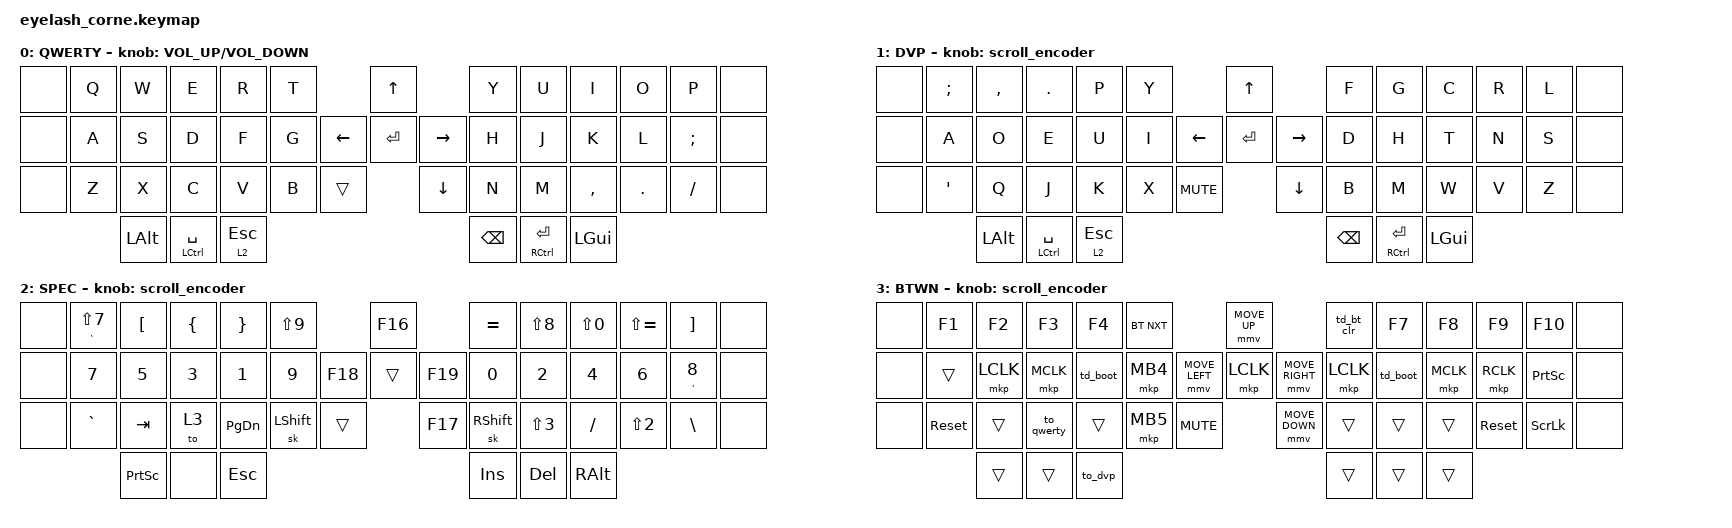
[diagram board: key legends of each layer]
#define ZMK_POINTING_DEFAULT_MOVE_VAL 1200  // 600
#define ZMK_POINTING_DEFAULT_SCRL_VAL 25   // 10

#include <input/processors.dtsi>
#include <zephyr/dt-bindings/input/input-event-codes.h>
#include <behaviors.dtsi>
#include <dt-bindings/zmk/bt.h>
#include <dt-bindings/zmk/keys.h>
#include <dt-bindings/zmk/outputs.h>
#include <dt-bindings/zmk/pointing.h>
#include <dt-bindings/zmk/rgb.h>

&mmv_input_listener { input-processors = <&zip_xy_scaler 2 1>; };

&msc_input_listener { input-processors = <&zip_scroll_scaler 2 1>; };

&msc {
    acceleration-exponent = <1>;      // 0
    time-to-max-speed-ms = <100>;       // 300
    delay-ms = <0>;                   // 0
};

&mmv {
    time-to-max-speed-ms = <500>;
    acceleration-exponent = <1>;
    trigger-period-ms = <16>;
};

&mt {
    flavor = "balanced";
    tapping-term-ms = <175>;
    quick-tap-ms = <150>;
};

&lt {
    flavor = "hold-preferred";
    tapping-term-ms = <200>;
    quick-tap-ms = <150>;
};

/ {
    behaviors {
        td0: td0 {
            compatible = "zmk,behavior-tap-dance";
            display-name = "Shift/Caps Lock Tap Dance";
            #binding-cells = <0>;
            bindings = <&kp LEFT_SHIFT>, <&kp CAPS>;
        };

        to_dvp: to_dvp {
          compatible = "zmk,behavior-macro";
          wait-ms = <30>;
          tap-ms = <30>;
          #binding-cells = <0>;
          bindings = <
            &kp LC(LS(LA(LG(N1))))  // Hyper+1 → Hammerspoon → set ABC
            &to 1
          >;
        };

        td_bt_clr: td_bt_clr {
            compatible = "zmk,behavior-tap-dance";
            display-name = "Double Tap BT Clear";
            #binding-cells = <0>;
            tapping-term-ms = <300>;
            bindings = <&none>, <&bt BT_CLR>;
        };

        td_boot: td_boot {
            compatible = "zmk,behavior-tap-dance";
            display-name = "Double Tap Bootloader";
            #binding-cells = <0>;
            tapping-term-ms = <300>;
            bindings = <&none>, <&bootloader>;
        };

        to_qwerty: to_qwerty {
          compatible = "zmk,behavior-macro";
          wait-ms = <30>;
          tap-ms = <30>;
          #binding-cells = <0>;
          bindings = <
            &kp LC(LS(LA(LG(N2))))  // Hyper+2 → Hammerspoon → set Russian
            &to 0
          >;
        };
    };

    rgb_encoder: rgb_encoder {
        compatible = "zmk,behavior-sensor-rotate";
        #sensor-binding-cells = <0>;
        bindings = <&rgb_ug RGB_BRI>, <&rgb_ug RGB_BRD>;
    };

    scroll_encoder: scroll_encoder {
        compatible = "zmk,behavior-sensor-rotate";
        #sensor-binding-cells = <0>;
        bindings = <&msc SCRL_DOWN>, <&msc SCRL_UP>;

        tap-ms = <100>;
    };

    combos {
        compatible = "zmk,combos";
        // Keys in the comments are named by what the DVP layer prints on them.

        combo_minus {
            timeout-ms = <50>;
            key-positions = <25 26>;  // N + S home (right ring + pinky) → MINUS (kept as backup)
            bindings = <&kp MINUS>;
            layers = <0 1 2>;
        };

        combo_minus_top {
            timeout-ms = <40>;
            key-positions = <4 8>;    // P + G top (index mirror, above U+H = ,) → MINUS
            bindings = <&kp MINUS>;
            layers = <0 1 2>;
        };

        combo_underscore {
            timeout-ms = <40>;
            key-positions = <2 10>;   // , + R top (ring mirror) → LS(MINUS) → _ (same in EN and RU)
            bindings = <&kp LS(MINUS)>;
            layers = <0 1>;
        };

        combo_asterisk {
            timeout-ms = <40>;
            key-positions = <5 7>;    // Y + F top (inner index mirror) → LS(N8) → * (same in EN and RU)
            bindings = <&kp LS(NUMBER_8)>;
            layers = <0 1>;
        };

        combo_dollar {
            timeout-ms = <40>;
            key-positions = <1 11>;   // ; + L top (pinky mirror) → LS(N4) → $ (EN only; in RU same scan code gives ;)
            bindings = <&kp LS(NUMBER_4)>;
            layers = <1>;
        };

        combo_exclamation {
            timeout-ms = <40>;
            key-positions = <14 26>;  // A + S home (pinky mirror) → ! (LS(N1) same in EN and RU)
            bindings = <&kp LS(NUMBER_1)>;
            layers = <0 1>;
        };

        combo_dquote_en {
            timeout-ms = <40>;
            key-positions = <16 24>;  // E + T home (middle mirror) → LS(SQT) → " on EN
            bindings = <&kp LS(SQT)>;
            layers = <1>;
        };

        combo_dquote_ru {
            timeout-ms = <40>;
            key-positions = <16 24>;  // E + T home (middle mirror) → LS(NUMBER_2) → " on Russian Mac
            bindings = <&kp LS(NUMBER_2)>;
            layers = <0>;
        };

        combo_lshift {
            timeout-ms = <30>;
            key-positions = <15 16>;  // O + E home (left ring + middle) → sticky LSHIFT, mirrors combo_rshift
            bindings = <&sk LEFT_SHIFT>;
            layers = <0 1>;
        };

        combo_rshift {
            timeout-ms = <30>;
            key-positions = <24 25>;  // T + N home (right middle + ring) → sticky RSHIFT
            bindings = <&sk RIGHT_SHIFT>;
            layers = <0 1>;
        };

        combo_tab {
            timeout-ms = <40>;
            key-positions = <1 2>;    // ; + , top (left pinky + ring) → TAB
            bindings = <&kp TAB>;
            layers = <0 1>;
        };

        combo_lgui {
            timeout-ms = <40>;
            key-positions = <29 30>;  // ' + Q bottom-left (left pinky + ring) → sticky LGUI
            bindings = <&sk LEFT_GUI>;
            layers = <0 1>;
        };

        combo_comma_en {
            timeout-ms = <40>;
            key-positions = <17 23>;  // U + H home (index mirror) → COMMA → , on EN layout
            bindings = <&kp COMMA>;
            layers = <1>;
        };

        combo_comma_ru {
            timeout-ms = <40>;
            key-positions = <17 23>;  // U + H home (index mirror) → LS(FSLH) → , on Russian Mac
            bindings = <&kp LS(FSLH)>;
            layers = <0>;
        };

        combo_question_en {
            timeout-ms = <40>;
            key-positions = <15 25>;  // O + N home (ring mirror) → LS(FSLH) → ? on EN
            bindings = <&kp LS(FSLH)>;
            layers = <1>;
        };

        combo_question_ru {
            timeout-ms = <40>;
            key-positions = <15 25>;  // O + N home (ring mirror) → LS(NUMBER_7) → ? on Russian Mac
            bindings = <&kp LS(NUMBER_7)>;
            layers = <0>;
        };

        combo_colon_en {
            timeout-ms = <40>;
            key-positions = <18 22>;  // I + D home (inner index mirror) → LS(SEMI) → : on EN
            bindings = <&kp LS(SEMI)>;
            layers = <1>;
        };

        combo_colon_ru {
            timeout-ms = <40>;
            key-positions = <18 22>;  // I + D home (inner index mirror) → LS(NUMBER_6) → : on Russian Mac
            bindings = <&kp LS(NUMBER_6)>;
            layers = <0>;
        };

        combo_eh_ru {
            timeout-ms = <40>;
            key-positions = <11 26>;  // L + S (right pinky vertical) → SQT → э on Russian Mac; was SPEC + hold S
            bindings = <&kp SQT>;
            layers = <0>;
        };

        combo_yo_ru {
            timeout-ms = <40>;
            key-positions = <1 14>;   // ; + A (left pinky vertical) → GRAVE → ё on Russian Mac; was SPEC + hold ;
            bindings = <&kp GRAVE>;
            layers = <0>;
        };

        combo_caps_word {
            timeout-ms = <40>;
            key-positions = <33 36>;  // X + B bottom-inner-index → caps_word (auto-off on space)
            bindings = <&caps_word>;
            layers = <0 1>;
        };

        combo_tilde {
            timeout-ms = <40>;
            key-positions = <3 9>;    // . + C top row (middle mirror) → ~ in EN, Ё in RU
            bindings = <&kp LS(GRAVE)>;
            layers = <0 1>;
        };

        combo_lbkt {
            timeout-ms = <40>;
            key-positions = <2 15>;   // , + O (left ring vertical) → [
            bindings = <&kp LEFT_BRACKET>;
            layers = <1>;
        };

        combo_lbrace {
            timeout-ms = <40>;
            key-positions = <3 16>;   // . + E (left middle vertical) → {
            bindings = <&kp LEFT_BRACE>;
            layers = <1>;
        };

        combo_rbrace {
            timeout-ms = <40>;
            key-positions = <4 17>;   // P + U (left index vertical) → }
            bindings = <&kp RIGHT_BRACE>;
            layers = <1>;
        };

        combo_lparen {
            timeout-ms = <40>;
            key-positions = <5 18>;   // Y + I (left index-stretch vertical) → (
            bindings = <&kp LS(NUMBER_9)>;
            layers = <1>;
        };

        combo_rparen {
            timeout-ms = <40>;
            key-positions = <9 24>;   // C + T (right middle vertical) → )
            bindings = <&kp LS(NUMBER_0)>;
            layers = <1>;
        };

        combo_rbkt {
            timeout-ms = <40>;
            key-positions = <11 26>;  // L + S (right pinky vertical) → ]
            bindings = <&kp RIGHT_BRACKET>;
            layers = <1>;
        };

        // Language toggle: the same pair switches either way, a shortcut for
        // SPEC → BTWN → J (Russian) / Esc (English).
        combo_lang_en {
            timeout-ms = <40>;
            key-positions = <31 38>;  // J + W bottom (middle mirror) → to_dvp: ABC + DVP layer
            bindings = <&to_dvp>;
            layers = <0>;
        };

        combo_lang_ru {
            timeout-ms = <40>;
            key-positions = <31 38>;  // J + W bottom (middle mirror) → to_qwerty: Russian – PC + QWERTY layer
            bindings = <&to_qwerty>;
            layers = <1>;
        };
    };

    keymap {
        compatible = "zmk,keymap";

        layer_0 {
            display-name = "QWERTY";
            bindings = <
&none                &kp Q  &kp W  &kp E     &kp R  &kp T                               &kp UP                &kp Y              &kp U     &kp I      &kp O    &kp P     &none
&none                &kp A  &kp S  &kp D     &kp F  &kp G                     &kp LEFT  &kp ENTER  &kp RIGHT  &kp H              &kp J     &kp K      &kp L    &kp SEMI  &none
&none                &kp Z  &kp X  &kp C     &kp V  &kp B        &trans                 &kp DOWN              &kp N              &kp M     &kp COMMA  &kp DOT  &kp FSLH  &none
                         &kp LALT  &mt LCTRL SPACE  &lt 2 ESCAPE                                           &kp BSPC  &mt RCTRL ENTER  &kp LEFT_GUI
            >;

             sensor-bindings = <&inc_dec_kp C_VOLUME_UP C_VOLUME_DOWN>;

           
        };

        layer_1 {
            display-name = "DVP";
            bindings = <
&none           &kp SEMI         &kp COMMA       &kp DOT       &kp P         &kp Y                                   &kp UP                     &kp F            &kp G            &kp C            &kp R            &kp L     &none
&none           &kp A            &kp O           &kp E         &kp U         &kp I                   &kp LEFT  &kp ENTER       &kp RIGHT  &kp D            &kp H            &kp T            &kp N            &kp S     &none
&none           &kp APOS         &kp Q           &kp J         &kp K         &kp X                   &kp C_MUTE      &kp DOWN                   &kp B            &kp M            &kp W            &kp V            &kp Z     &none
                                                 &kp LALT        &mt LCTRL SPACE  &lt 2 ESCAPE                                                         &kp BSPC         &mt RCTRL ENTER  &kp LEFT_GUI
            >;

            sensor-bindings = <&scroll_encoder>;
        };

        layer_2 {
            display-name = "SPEC";
            bindings = <
&none                       &mt GRAVE LS(NUMBER_7)  &kp LEFT_BRACKET  &kp LEFT_BRACE  &kp RIGHT_BRACE  &kp LS(NUMBER_9)          &kp F16         &kp EQUAL         &kp LS(NUMBER_8)  &kp LS(NUMBER_0)  &kp LS(EQUAL)    &kp RIGHT_BRACKET    &none  // 5-way ↑ → F16: Hammerspoon moves the window to the monitor above
&none                       &kp NUMBER_7            &kp NUMBER_5    &kp NUMBER_3        &kp NUMBER_1         &kp NUMBER_9      &kp F18  &trans  &kp F19  &kp NUMBER_0      &kp NUMBER_2      &kp NUMBER_4      &kp NUMBER_6     &mt APOS NUMBER_8  &none  // 5-way ← / → → F18 / F19: Hammerspoon carries the window to the next Desktop
&none                       &kp GRAVE               &kp TAB         &to 3               &kp PAGE_DOWN        &sk LEFT_SHIFT  &trans  &kp F17         &sk RIGHT_SHIFT   &kp LS(NUMBER_3)  &kp SLASH         &kp LS(NUMBER_2) &kp BACKSLASH      &none  // 5-way ↓ → F17: the monitor below
                                                                    &kp PRINTSCREEN     &none               &kp ESCAPE                                 &kp INSERT       &kp DELETE        &kp RALT
            >;

            sensor-bindings = <&scroll_encoder>;
        };

        layer_3 {
            display-name = "BTWN";
            bindings = <
&none        &kp F1      &kp F2     &kp F3       &kp F4     &bt BT_NXT                                  &mmv MOVE_UP                     &td_bt_clr       &kp F7     &kp F8       &kp F9      &kp F10          &none
&none        &trans      &mkp LCLK  &mkp MCLK    &td_boot   &mkp MB4                &mmv MOVE_LEFT  &mkp LCLK       &mmv MOVE_RIGHT  &mkp LCLK    &td_boot   &mkp MCLK    &mkp RCLK   &kp PRINTSCREEN  &none
&none        &sys_reset  &trans     &to_qwerty        &trans     &mkp MB5  &kp C_MUTE                    &mmv MOVE_DOWN                   &trans       &trans     &trans       &sys_reset  &kp SCROLLLOCK   &none
                                    &trans       &trans      &to_dvp                                                                  &trans       &trans     &trans
            >;

            sensor-bindings = <&scroll_encoder>;
        };
    };
};
